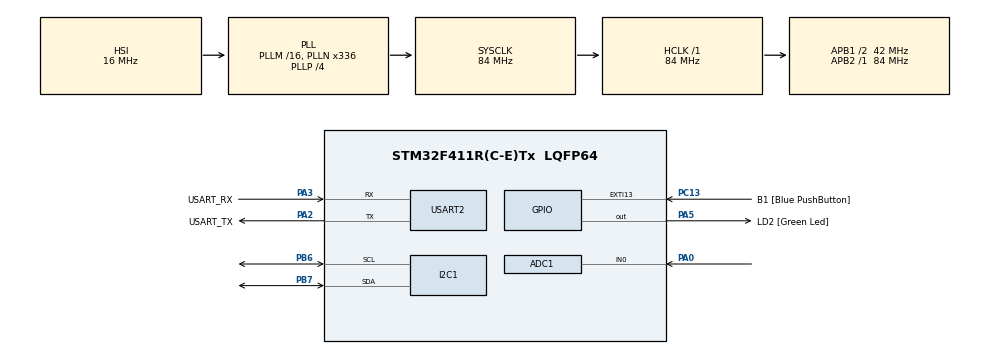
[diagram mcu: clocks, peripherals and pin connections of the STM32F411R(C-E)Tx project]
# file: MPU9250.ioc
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ADC1.Channel-1\#ChannelRegularConversion=ADC_CHANNEL_0
ADC1.NbrOfConversionFlag=1
ADC1.Rank-1\#ChannelRegularConversion=1
ADC1.SamplingTime-1\#ChannelRegularConversion=ADC_SAMPLETIME_3CYCLES
ADC1.master=1
Dma.I2C1_RX.0.Direction=DMA_PERIPH_TO_MEMORY
Dma.I2C1_RX.0.FIFOMode=DMA_FIFOMODE_DISABLE
Dma.I2C1_RX.0.Instance=DMA1_Stream0
Dma.I2C1_RX.0.MemDataAlignment=DMA_MDATAALIGN_BYTE
Dma.I2C1_RX.0.MemInc=DMA_MINC_ENABLE
Dma.I2C1_RX.0.Mode=DMA_CIRCULAR
Dma.I2C1_RX.0.PeriphDataAlignment=DMA_PDATAALIGN_BYTE
Dma.I2C1_RX.0.PeriphInc=DMA_PINC_DISABLE
Dma.I2C1_RX.0.Priority=DMA_PRIORITY_MEDIUM
Dma.I2C1_TX.1.Direction=DMA_MEMORY_TO_PERIPH
Dma.I2C1_TX.1.FIFOMode=DMA_FIFOMODE_DISABLE
Dma.I2C1_TX.1.Instance=DMA1_Stream1
Dma.I2C1_TX.1.MemDataAlignment=DMA_MDATAALIGN_BYTE
Dma.I2C1_TX.1.MemInc=DMA_MINC_ENABLE
Dma.I2C1_TX.1.Mode=DMA_CIRCULAR
Dma.I2C1_TX.1.PeriphDataAlignment=DMA_PDATAALIGN_BYTE
Dma.I2C1_TX.1.PeriphInc=DMA_PINC_DISABLE
Dma.I2C1_TX.1.Priority=DMA_PRIORITY_HIGH
Dma.Request0=I2C1_RX
Dma.Request1=I2C1_TX
I2C1.I2C_Mode=I2C_Standard
I2C1.OwnAddress=0x68
Mcu.Family=STM32F4
Mcu.Name=STM32F411R(C-E)Tx
Mcu.Package=LQFP64
NVIC.DMA1_Stream0_IRQn=true\:0\:0\:false\:false\:true\:false\:true\:true
NVIC.DMA1_Stream1_IRQn=true\:0\:0\:false\:false\:true\:false\:true\:true
NVIC.PriorityGroup=NVIC_PRIORITYGROUP_0
PA0-WKUP.Signal=ADCx_IN0
PA13.GPIO_Label=TMS
PA13.Mode=Serial_Wire
PA13.Signal=SYS_JTMS-SWDIO
PA14.GPIO_Label=TCK
PA14.Mode=Serial_Wire
PA14.Signal=SYS_JTCK-SWCLK
PA2.GPIO_Label=USART_TX
PA2.Mode=Asynchronous
PA2.Signal=USART2_TX
PA3.GPIO_Label=USART_RX
PA3.Mode=Asynchronous
PA3.Signal=USART2_RX
PA5.GPIO_Label=LD2 [Green Led]
PA5.Signal=GPIO_Output
PB3.GPIO_Label=SWO
PB3.Signal=SYS_JTDO-SWO
PB6.Mode=I2C
PB6.Signal=I2C1_SCL
PB7.Mode=I2C
PB7.Signal=I2C1_SDA
PC13-ANTI_TAMP.GPIO_Label=B1 [Blue PushButton]
PC13-ANTI_TAMP.GPIO_ModeDefaultEXTI=GPIO_MODE_IT_FALLING
PC13-ANTI_TAMP.Signal=GPXTI13
PC14-OSC32_IN.Mode=LSE-External-Oscillator
PC14-OSC32_IN.Signal=RCC_OSC32_IN
PC15-OSC32_OUT.Mode=LSE-External-Oscillator
PC15-OSC32_OUT.Signal=RCC_OSC32_OUT
PH0\ -\ OSC_IN.Mode=HSE-External-Clock-Source
PH0\ -\ OSC_IN.Signal=RCC_OSC_IN
PH1\ -\ OSC_OUT.Mode=HSE-External-Clock-Source
PH1\ -\ OSC_OUT.Signal=RCC_OSC_OUT
ProjectManager.HeapSize=0x200
ProjectManager.StackSize=0x400
ProjectManager.TargetToolchain=STM32CubeIDE
RCC.48MHZClocksFreq_Value=84000000
RCC.AHBFreq_Value=84000000
RCC.APB1CLKDivider=RCC_HCLK_DIV2
RCC.APB1Freq_Value=42000000
RCC.APB1TimFreq_Value=84000000
RCC.APB2Freq_Value=84000000
RCC.APB2TimFreq_Value=84000000
RCC.CortexFreq_Value=84000000
RCC.FLatency-AdvancedSettings=FLASH_LATENCY_2
RCC.HCLKFreq_Value=84000000
RCC.HSE_VALUE=8000000
RCC.HSI_VALUE=16000000
RCC.PLLN=336
RCC.PLLP=RCC_PLLP_DIV4
RCC.SYSCLKFreq_VALUE=84000000
RCC.SYSCLKSource=RCC_SYSCLKSOURCE_PLLCLK
RCC.VCOOutputFreq_Value=336000000
SH.ADCx_IN0.0=ADC1_IN0,IN0
USART2.VirtualMode=VM_ASYNC
board=NUCLEO-F411RE

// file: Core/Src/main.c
/* USER CODE BEGIN Header */
/**
  ******************************************************************************
  * @file           : main.c
  * @brief          : Main program body
  ******************************************************************************
  * @attention
  *
  * Copyright (c) 2026 STMicroelectronics.
  * All rights reserved.
  *
  * This software is licensed under terms that can be found in the LICENSE file
  * in the root directory of this software component.
  * If no LICENSE file comes with this software, it is provided AS-IS.
  *
  ******************************************************************************
  */
/* USER CODE END Header */
#include "main.h"

/* USER CODE BEGIN Includes */
#include <stdio.h>
#include "stm32f4xx_hal.h"
/* USER CODE END Includes */

/* USER CODE BEGIN PD */
#ifdef __GNUC__
/* With GCC, small printf (option LD Linker->Libraries->Small printf
   set to 'Yes') calls __io_putchar() */
#define PUTCHAR_PROTOTYPE int __io_putchar(int ch)
#else
#define PUTCHAR_PROTOTYPE int fputc(int ch, FILE *f)
#endif /* __GNUC__ */

// MPU9250 I2C 주소
#define MPU9250_ADDR    0xD0  // 7-bit 주소 0x68, Write = 0xD0, Read = 0xD1

// 가속도, 자이로 데이터 레지스터 주소
#define ACCEL_XOUT_H    0x3B
#define ACCEL_YOUT_H    0x3D
#define ACCEL_ZOUT_H    0x3F
#define GYRO_XOUT_H     0x43
#define GYRO_YOUT_H     0x45
#define GYRO_ZOUT_H     0x47

// AK8963(마그네토미터) I2C 주소 (7bit 0x0C=0x18, 일부 보드는 0x0D=0x1A)
#define AK8963_ADDR     0x18
#define AK8963_ADDR_ALT 0x1A
#define AK8963_ST1      0x02   // 상태 레지스터 (DRDY 등)
#define AK8963_HXL      0x03   // Mag 데이터 시작 (ST1 다음: HXL,HXH,HYL,HYH,HZL,HZH)
#define AK8963_CNTL1    0x0A   // 제어1 (측정 모드)
#define AK8963_CNTL2    0x0B   // 제어2 (리셋 등)
#define AK8963_WHO_AM_I 0x00   // WHO_AM_I = 0x48

// 필터 설정
#define MA_WINDOW_SIZE  8   // 이동평균 창 크기 (클수록 더 스무스, 반응 느림)
#define LPF_ALPHA       0.85f   // 저역통과 필터 계수 0~1 (높을수록 더 스무스)
/* USER CODE END PD */

ADC_HandleTypeDef hadc1;

I2C_HandleTypeDef hi2c1;
DMA_HandleTypeDef hdma_i2c1_rx;
DMA_HandleTypeDef hdma_i2c1_tx;

UART_HandleTypeDef huart2;

/* USER CODE BEGIN PV */
// 데이터 배열
uint8_t rxData[14];  // 가속도계(6) + 자이로(6) = 12바이트 (14로 여유 있게)
uint8_t magRxData[8]; // 마그네토미터: HXL~HZH 6바이트 (8로 여유)

// DMA 전송 완료 플래그
volatile uint8_t dmaTransferComplete = 0;

// 이동평균 필터용 버퍼/상태
static int16_t accel_ma_buf[3][MA_WINDOW_SIZE], gyro_ma_buf[3][MA_WINDOW_SIZE];
static int16_t mag_ma_buf[3][MA_WINDOW_SIZE];
static int32_t accel_ma_sum[3] = {0}, gyro_ma_sum[3] = {0};
static int32_t mag_ma_sum[3] = {0};
static uint8_t ma_index = 0;
static uint8_t ma_count = 0;  // 버퍼가 채워진 샘플 수 (MA_WINDOW_SIZE까지 증가 후 유지)
static uint8_t mag_ma_index = 0;
static uint8_t mag_ma_count = 0;

// 저역통과 필터 이전 출력값
static float accel_lpf[3] = {0}, gyro_lpf[3] = {0}, mag_lpf[3] = {0};
static uint8_t lpf_initialized = 0;
static uint8_t mag_lpf_initialized = 0;
static uint8_t s_ak8963_addr = AK8963_ADDR;  // 초기화 시 WHO_AM_I 성공한 주소
/* USER CODE END PV */

void SystemClock_Config(void);
static void MX_GPIO_Init(void);
static void MX_DMA_Init(void);
static void MX_USART2_UART_Init(void);
static void MX_I2C1_Init(void);
static void MX_ADC1_Init(void);
/* USER CODE BEGIN PFP */
// 함수 프로토타입
void I2C_Read_DMA(uint8_t devAddr, uint8_t regAddr, uint8_t *data, uint16_t len);
void MPU9250_Init(void);
void MPU9250_Read_Accel_Gyro_DMA(void);

HAL_StatusTypeDef I2C_Read(uint8_t devAddr, uint8_t regAddr, uint8_t *data, uint16_t len)
{
    return HAL_I2C_Mem_Read(&hi2c1, devAddr, regAddr, 1, data, len, HAL_MAX_DELAY);
}
/* USER CODE END PFP */

int main(void)
{

  /* MCU Configuration--------------------------------------------------------*/

  /* Reset of all peripherals, Initializes the Flash interface and the Systick. */
  HAL_Init();

  /* Configure the system clock */
  SystemClock_Config();

  /* Initialize all configured peripherals */
  MX_GPIO_Init();
  MX_DMA_Init();
  MX_USART2_UART_Init();
  MX_I2C1_Init();
  MX_ADC1_Init();
  /* USER CODE BEGIN 2 */
  MPU9250_Init();

  /* USER CODE END 2 */

  /* Infinite loop */
  /* USER CODE BEGIN WHILE */
  while (1)
  {
	  // DMA로 가속도계와 자이로 데이터 읽기
	  MPU9250_Read_Accel_Gyro_DMA();

	  HAL_Delay(500);  // 500ms 딜레이
    /* USER CODE END WHILE */

  }
}

void SystemClock_Config(void)
{
  RCC_OscInitTypeDef RCC_OscInitStruct = {0};
  RCC_ClkInitTypeDef RCC_ClkInitStruct = {0};

  /** Configure the main internal regulator output voltage
  */
  __HAL_RCC_PWR_CLK_ENABLE();
  __HAL_PWR_VOLTAGESCALING_CONFIG(PWR_REGULATOR_VOLTAGE_SCALE1);

  /** Initializes the RCC Oscillators according to the specified parameters
  * in the RCC_OscInitTypeDef structure.
  */
  RCC_OscInitStruct.OscillatorType = RCC_OSCILLATORTYPE_HSI;
  RCC_OscInitStruct.HSIState = RCC_HSI_ON;
  RCC_OscInitStruct.HSICalibrationValue = RCC_HSICALIBRATION_DEFAULT;
  RCC_OscInitStruct.PLL.PLLState = RCC_PLL_ON;
  RCC_OscInitStruct.PLL.PLLSource = RCC_PLLSOURCE_HSI;
  RCC_OscInitStruct.PLL.PLLM = 16;
  RCC_OscInitStruct.PLL.PLLN = 336;
  RCC_OscInitStruct.PLL.PLLP = RCC_PLLP_DIV4;
  RCC_OscInitStruct.PLL.PLLQ = 4;
  if (HAL_RCC_OscConfig(&RCC_OscInitStruct) != HAL_OK)
  {
    Error_Handler();
  }

  /** Initializes the CPU, AHB and APB buses clocks
  */
  RCC_ClkInitStruct.ClockType = RCC_CLOCKTYPE_HCLK|RCC_CLOCKTYPE_SYSCLK
                              |RCC_CLOCKTYPE_PCLK1|RCC_CLOCKTYPE_PCLK2;
  RCC_ClkInitStruct.SYSCLKSource = RCC_SYSCLKSOURCE_PLLCLK;
  RCC_ClkInitStruct.AHBCLKDivider = RCC_SYSCLK_DIV1;
  RCC_ClkInitStruct.APB1CLKDivider = RCC_HCLK_DIV2;
  RCC_ClkInitStruct.APB2CLKDivider = RCC_HCLK_DIV1;

  if (HAL_RCC_ClockConfig(&RCC_ClkInitStruct, FLASH_LATENCY_2) != HAL_OK)
  {
    Error_Handler();
  }
}

static void MX_ADC1_Init(void)
{

  ADC_ChannelConfTypeDef sConfig = {0};

  /** Configure the global features of the ADC (Clock, Resolution, Data Alignment and number of conversion)
  */
  hadc1.Instance = ADC1;
  hadc1.Init.ClockPrescaler = ADC_CLOCK_SYNC_PCLK_DIV4;
  hadc1.Init.Resolution = ADC_RESOLUTION_12B;
  hadc1.Init.ScanConvMode = DISABLE;
  hadc1.Init.ContinuousConvMode = DISABLE;
  hadc1.Init.DiscontinuousConvMode = DISABLE;
  hadc1.Init.ExternalTrigConvEdge = ADC_EXTERNALTRIGCONVEDGE_NONE;
  hadc1.Init.ExternalTrigConv = ADC_SOFTWARE_START;
  hadc1.Init.DataAlign = ADC_DATAALIGN_RIGHT;
  hadc1.Init.NbrOfConversion = 1;
  hadc1.Init.DMAContinuousRequests = DISABLE;
  hadc1.Init.EOCSelection = ADC_EOC_SINGLE_CONV;
  if (HAL_ADC_Init(&hadc1) != HAL_OK)
  {
    Error_Handler();
  }

  /** Configure for the selected ADC regular channel its corresponding rank in the sequencer and its sample time.
  */
  sConfig.Channel = ADC_CHANNEL_0;
  sConfig.Rank = 1;
  sConfig.SamplingTime = ADC_SAMPLETIME_3CYCLES;
  if (HAL_ADC_ConfigChannel(&hadc1, &sConfig) != HAL_OK)
  {
    Error_Handler();
  }

}

static void MX_I2C1_Init(void)
{

  hi2c1.Instance = I2C1;
  hi2c1.Init.ClockSpeed = 100000;
  hi2c1.Init.DutyCycle = I2C_DUTYCYCLE_2;
  hi2c1.Init.OwnAddress1 = 208;
  hi2c1.Init.AddressingMode = I2C_ADDRESSINGMODE_7BIT;
  hi2c1.Init.DualAddressMode = I2C_DUALADDRESS_DISABLE;
  hi2c1.Init.OwnAddress2 = 0;
  hi2c1.Init.GeneralCallMode = I2C_GENERALCALL_DISABLE;
  hi2c1.Init.NoStretchMode = I2C_NOSTRETCH_DISABLE;
  if (HAL_I2C_Init(&hi2c1) != HAL_OK)
  {
    Error_Handler();
  }

}

static void MX_USART2_UART_Init(void)
{

  huart2.Instance = USART2;
  huart2.Init.BaudRate = 115200;
  huart2.Init.WordLength = UART_WORDLENGTH_8B;
  huart2.Init.StopBits = UART_STOPBITS_1;
  huart2.Init.Parity = UART_PARITY_NONE;
  huart2.Init.Mode = UART_MODE_TX_RX;
  huart2.Init.HwFlowCtl = UART_HWCONTROL_NONE;
  huart2.Init.OverSampling = UART_OVERSAMPLING_16;
  if (HAL_UART_Init(&huart2) != HAL_OK)
  {
    Error_Handler();
  }

}

static void MX_DMA_Init(void)
{

  /* DMA controller clock enable */
  __HAL_RCC_DMA1_CLK_ENABLE();

  /* DMA interrupt init */
  /* DMA1_Stream0_IRQn interrupt configuration */
  HAL_NVIC_SetPriority(DMA1_Stream0_IRQn, 0, 0);
  HAL_NVIC_EnableIRQ(DMA1_Stream0_IRQn);
  /* DMA1_Stream1_IRQn interrupt configuration */
  HAL_NVIC_SetPriority(DMA1_Stream1_IRQn, 0, 0);
  HAL_NVIC_EnableIRQ(DMA1_Stream1_IRQn);

}

static void MX_GPIO_Init(void)
{
  GPIO_InitTypeDef GPIO_InitStruct = {0};

  /* GPIO Ports Clock Enable */
  __HAL_RCC_GPIOC_CLK_ENABLE();
  __HAL_RCC_GPIOH_CLK_ENABLE();
  __HAL_RCC_GPIOA_CLK_ENABLE();
  __HAL_RCC_GPIOB_CLK_ENABLE();

  /*Configure GPIO pin Output Level */
  HAL_GPIO_WritePin(LD2_GPIO_Port, LD2_Pin, GPIO_PIN_RESET);

  /*Configure GPIO pin : B1_Pin */
  GPIO_InitStruct.Pin = B1_Pin;
  GPIO_InitStruct.Mode = GPIO_MODE_IT_FALLING;
  GPIO_InitStruct.Pull = GPIO_NOPULL;
  HAL_GPIO_Init(B1_GPIO_Port, &GPIO_InitStruct);

  /*Configure GPIO pin : LD2_Pin */
  GPIO_InitStruct.Pin = LD2_Pin;
  GPIO_InitStruct.Mode = GPIO_MODE_OUTPUT_PP;
  GPIO_InitStruct.Pull = GPIO_NOPULL;
  GPIO_InitStruct.Speed = GPIO_SPEED_FREQ_LOW;
  HAL_GPIO_Init(LD2_GPIO_Port, &GPIO_InitStruct);

}

/* USER CODE BEGIN 4 */
// MPU9250 초기화 함수
void MPU9250_Init(void)
{
    uint8_t check;
    uint8_t data;

    // MPU9250이 제대로 연결되어 있는지 확인
    I2C_Read(MPU9250_ADDR, 0x75, &check, 1); // WHO_AM_I 레지스터 읽기
    if (check == 0x71) {
        // 정상적으로 연결되어 있다면 초기화 시작
        // PWR_MGMT_1 레지스터 설정 (센서 켜기)
        data = 0x00; // No sleep mode
        HAL_I2C_Mem_Write(&hi2c1, MPU9250_ADDR, 0x6B, 1, &data, 1, HAL_MAX_DELAY);
        HAL_Delay(10);

        // 내부 I2C 마스터 비활성화 (바이패스 전에 필수 - 호스트가 AK8963에 접근하려면)
        data = 0x00; // USER_CTRL(0x6A): I2C_MST_EN=0 등
        HAL_I2C_Mem_Write(&hi2c1, MPU9250_ADDR, 0x6A, 1, &data, 1, HAL_MAX_DELAY);

        // I2C 바이패스 활성화 (마그네토미터 AK8963 접근용)
        data = 0x02; // INT_PIN_CFG(0x37): BYPASS_EN = 1
        HAL_I2C_Mem_Write(&hi2c1, MPU9250_ADDR, 0x37, 1, &data, 1, HAL_MAX_DELAY);
        HAL_Delay(10);

        // AK8963(마그네토미터) 주소 확인 (0x0C 또는 0x0D)
        if (I2C_Read(AK8963_ADDR, AK8963_WHO_AM_I, &check, 1) == HAL_OK && check == 0x48)
            s_ak8963_addr = AK8963_ADDR;
        else if (I2C_Read(AK8963_ADDR_ALT, AK8963_WHO_AM_I, &check, 1) == HAL_OK && check == 0x48)
            s_ak8963_addr = AK8963_ADDR_ALT;
        if (check == 0x48) {
            data = 0x01; // CNTL2: Soft reset
            HAL_I2C_Mem_Write(&hi2c1, s_ak8963_addr, AK8963_CNTL2, 1, &data, 1, HAL_MAX_DELAY);
            HAL_Delay(10);
            data = 0x16; // CNTL1: 16bit, 100Hz 연속 측정
            HAL_I2C_Mem_Write(&hi2c1, s_ak8963_addr, AK8963_CNTL1, 1, &data, 1, HAL_MAX_DELAY);
            HAL_Delay(20); // 첫 측정 대기
        }
    }
}

// 가속도계와 자이로 데이터 읽기 (이동평균 + 저역통과 필터 적용)
void MPU9250_Read_Accel_Gyro_DMA(void)
{
    // I2C를 통해 DMA로 데이터를 읽습니다.
    I2C_Read_DMA(MPU9250_ADDR, ACCEL_XOUT_H, rxData, 14);  // 가속도계와 자이로 데이터(12바이트) 읽기

    // DMA 전송 완료 대기 (타임아웃 100ms - 실패 시 무한 루프 방지)
    uint32_t tick = HAL_GetTick();
    while (!dmaTransferComplete && (HAL_GetTick() - tick < 100));
    if (!dmaTransferComplete) {
        printf("MPU9250 DMA timeout\r\n");
        return;
    }

    // 가속도계와 자이로 raw 데이터를 16비트 값으로 변환
    int16_t accel_raw[3], gyro_raw[3];
    accel_raw[0] = (int16_t)((rxData[0] << 8) | rxData[1]);
    accel_raw[1] = (int16_t)((rxData[2] << 8) | rxData[3]);
    accel_raw[2] = (int16_t)((rxData[4] << 8) | rxData[5]);
    gyro_raw[0] = (int16_t)((rxData[6] << 8) | rxData[7]);
    gyro_raw[1] = (int16_t)((rxData[8] << 8) | rxData[9]);
    gyro_raw[2] = (int16_t)((rxData[10] << 8) | rxData[11]);

    // ---- 1) 이동평균 필터 ----
    int16_t accel_ma[3], gyro_ma[3];
    for (int i = 0; i < 3; i++) {
        if (ma_count < MA_WINDOW_SIZE) {
            accel_ma_buf[i][ma_count] = accel_raw[i];
            accel_ma_sum[i] += accel_raw[i];
            accel_ma[i] = (int16_t)(accel_ma_sum[i] / (ma_count + 1));
        } else {
            accel_ma_sum[i] -= accel_ma_buf[i][ma_index];
            accel_ma_buf[i][ma_index] = accel_raw[i];
            accel_ma_sum[i] += accel_raw[i];
            accel_ma[i] = (int16_t)(accel_ma_sum[i] / MA_WINDOW_SIZE);
        }
    }
    for (int i = 0; i < 3; i++) {
        if (ma_count < MA_WINDOW_SIZE) {
            gyro_ma_buf[i][ma_count] = gyro_raw[i];
            gyro_ma_sum[i] += gyro_raw[i];
            gyro_ma[i] = (int16_t)(gyro_ma_sum[i] / (ma_count + 1));
        } else {
            gyro_ma_sum[i] -= gyro_ma_buf[i][ma_index];
            gyro_ma_buf[i][ma_index] = gyro_raw[i];
            gyro_ma_sum[i] += gyro_raw[i];
            gyro_ma[i] = (int16_t)(gyro_ma_sum[i] / MA_WINDOW_SIZE);
        }
    }
    if (ma_count < MA_WINDOW_SIZE)
        ma_count++;
    else
        ma_index = (ma_index + 1) % MA_WINDOW_SIZE;

    // ---- 2) 저역통과 필터 (1차 IIR: y = alpha*y_prev + (1-alpha)*x) ----
    for (int i = 0; i < 3; i++) {
        if (!lpf_initialized) {
            accel_lpf[i] = (float)accel_ma[i];
            gyro_lpf[i] = (float)gyro_ma[i];
        } else {
            accel_lpf[i] = LPF_ALPHA * accel_lpf[i] + (1.0f - LPF_ALPHA) * (float)accel_ma[i];
            gyro_lpf[i] = LPF_ALPHA * gyro_lpf[i] + (1.0f - LPF_ALPHA) * (float)gyro_ma[i];
        }
    }
    lpf_initialized = 1;

    // ---- 마그네토미터 읽기 (AK8963): ST1(0x02)부터 8바이트 = ST1,HXL,HXH,HYL,HYH,HZL,HZH,ST2 - ST2 읽어야 다음 측정 가능
    if (I2C_Read(s_ak8963_addr, AK8963_ST1, magRxData, 8) == HAL_OK) {
        int16_t mag_raw[3];
        mag_raw[0] = (int16_t)((magRxData[2] << 8) | magRxData[1]); // HX
        mag_raw[1] = (int16_t)((magRxData[4] << 8) | magRxData[3]); // HY
        mag_raw[2] = (int16_t)((magRxData[6] << 8) | magRxData[5]); // HZ

        // 이동평균
        int16_t mag_ma[3];
        for (int i = 0; i < 3; i++) {
            if (mag_ma_count < MA_WINDOW_SIZE) {
                mag_ma_buf[i][mag_ma_count] = mag_raw[i];
                mag_ma_sum[i] += mag_raw[i];
                mag_ma[i] = (int16_t)(mag_ma_sum[i] / (mag_ma_count + 1));
            } else {
                mag_ma_sum[i] -= mag_ma_buf[i][mag_ma_index];
                mag_ma_buf[i][mag_ma_index] = mag_raw[i];
                mag_ma_sum[i] += mag_raw[i];
                mag_ma[i] = (int16_t)(mag_ma_sum[i] / MA_WINDOW_SIZE);
            }
        }
        if (mag_ma_count < MA_WINDOW_SIZE)
            mag_ma_count++;
        else
            mag_ma_index = (mag_ma_index + 1) % MA_WINDOW_SIZE;

        // 저역통과 필터
        for (int i = 0; i < 3; i++) {
            if (!mag_lpf_initialized)
                mag_lpf[i] = (float)mag_ma[i];
            else
                mag_lpf[i] = LPF_ALPHA * mag_lpf[i] + (1.0f - LPF_ALPHA) * (float)mag_ma[i];
        }
        mag_lpf_initialized = 1;
    }

    // 필터 적용된 값 출력
    printf("-------------------------------------------------------------------------------------\r\n");
    printf("Accel X: %d, Y: %d, Z: %d\r\n", (int)accel_lpf[0], (int)accel_lpf[1], (int)accel_lpf[2]);
    printf("Gyro  X: %d, Y: %d, Z: %d\r\n", (int)gyro_lpf[0], (int)gyro_lpf[1], (int)gyro_lpf[2]);
    printf("Mag   X: %d, Y: %d, Z: %d\r\n", (int)mag_lpf[0], (int)mag_lpf[1], (int)mag_lpf[2]);
    printf("-------------------------------------------------------------------------------------\r\n");

    // DMA 전송 완료 플래그 리셋
    dmaTransferComplete = 0;
}

// I2C Mem Read DMA 완료 콜백 - HAL이 이 콜백을 호출함 (HAL_DMA_XferCpltCallback은 I2C 드라이버가 덮어써서 호출되지 않음)
void HAL_I2C_MemRxCpltCallback(I2C_HandleTypeDef *hi2c)
{
    if (hi2c->Instance == I2C1)
    {
        dmaTransferComplete = 1;
    }
}

// I2C로 데이터 읽기 DMA 함수 (Mem_Read_DMA: 레지스터 주소 전송 + Repeated Start + 데이터 수신을 한 번에 처리)
void I2C_Read_DMA(uint8_t devAddr, uint8_t regAddr, uint8_t *data, uint16_t len)
{
    dmaTransferComplete = 0;  // 새 전송 전 플래그 리셋
    HAL_I2C_Mem_Read_DMA(&hi2c1, devAddr, regAddr, I2C_MEMADD_SIZE_8BIT, data, len);
}

PUTCHAR_PROTOTYPE
{
  /* Place your implementation of fputc here */
  /* e.g. write a character to the USART6 and Loop until the end of transmission */
  HAL_UART_Transmit(&huart2, (uint8_t *)&ch, 1, 0xFFFF);

  return ch;
}

/* USER CODE END 4 */

void Error_Handler(void)
{
  __disable_irq();
  while (1)
  {
  }
}
